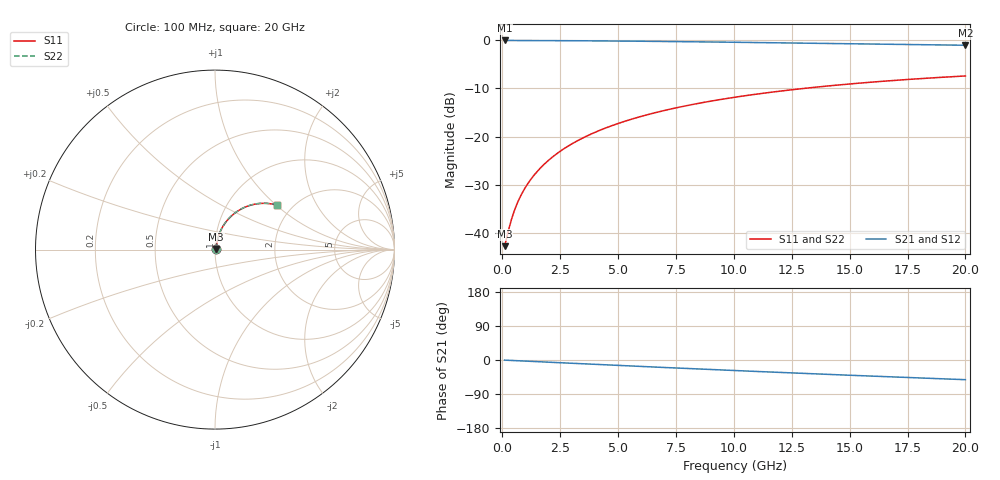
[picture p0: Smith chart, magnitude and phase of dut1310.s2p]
! Touchstone file exported from HFSS 2026.1.0
!  File:  C:/ffzhzh/LocalFiles/Ansys_Project_Files/temp_train_BSMRDL_1310_1783178338_22436.aedt
!  Generated:  11:20:07 PM Jul  4, 2026
!  Design:  BSMRDL
!  Project:  temp_train_BSMRDL_1310_1783178338_22436
! Variables:
!  h_bsmrdl = 3.64um
!  h_ox = 20um
!  h_rdl = 5um
!  h_sub = 80um
!  h_tmrdl = 5um
!  h_tsv = 80um
!  h_via = 3um
!  l_bsmrdl = 833.07um
!  l_sub = 1233.07um
!  l_tmrdl = 200um
!  m_sub = 200um
!  pitch = 28.47um
!  r_tsv = 6um
!  s_tmrdl = 10um
!  w_bsmrdl = 12.27um
!  w_sub = 500um
!  w_tmrdl = 12um
!  x_tsv_center1 = 206um
!  x_tsv_center2 = 1051.34um
!  x_tsv_center3 = 1263.34um
!  x_tsv_center4 = 2108.68um
!  x_tsv_center5 = 2320.68um
!  x_tsv_center6 = 3166.02um
# GHz S MA R 50.000000
! Terminal data exported
! Port[1] = BSM_RDL1_1_T1
! Port[2] = BSM_RDL1_1_T2
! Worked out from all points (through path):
!   200 points, 100 MHz to 20 GHz, reference 50 ohm
!   highest |S21| = -0.06 dB at 100 MHz (marker M1); lowest = -1.1 dB at 20 GHz (marker M2)
!   group delay of S21, straight-line fit = 7.21 ps
!   lowest |S11| = -42.8 dB at 100 MHz (marker M3), VSWR 1.01, Z = 50.7 + j0.307 ohm
!   |S11| at or under -10 dB: start of sweep to 13.05 GHz
!   |S22| runs from -42.8 to -7.4 dB; largest |S21 - S12| = 2.7e-15
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0.1  0.007274 24.6  0.9934 -0.3  0.9934 -0.3  0.007274 24.6
! Gamma 0 0 0 0
! Port Impedance 50 0 50 0
0.3  0.01137 51.8  0.9931 -0.9  0.9931 -0.9  0.01137 51.8
0.4  0.01387 58.1  0.9928 -1.2  0.9928 -1.2  0.01387 58.1
0.5  0.01645 62.4  0.9926 -1.5  0.9926 -1.5  0.01645 62.4
0.6  0.01907 65.4  0.9924 -1.8  0.9924 -1.8  0.01907 65.4
0.7  0.0217 67.6  0.9923 -2.1  0.9923 -2.1  0.0217 67.6
0.9  0.02701 70.6  0.9919 -2.6  0.9919 -2.6  0.02701 70.7
1.2  0.03505 73.3  0.9915 -3.5  0.9915 -3.5  0.03505 73.3
1.4  0.04044 74.3  0.9911 -4.1  0.9911 -4.1  0.04044 74.3
1.7  0.04857 75.2  0.9906 -4.9  0.9906 -4.9  0.04857 75.2
2.2  0.06214 75.7  0.9895 -6.4  0.9895 -6.4  0.06214 75.7
2.8  0.07839 75.3  0.988 -8.1  0.988 -8.1  0.07838 75.3
3.5  0.09717 74.3  0.9858 -10.0  0.9858 -10.0  0.09717 74.3
4.2  0.1157 72.9  0.9832 -12.0  0.9832 -12.0  0.1157 73.0
5  0.1365 71.2  0.9798 -14.3  0.9798 -14.3  0.1365 71.2
5.9  0.1593 69.0  0.9756 -16.7  0.9756 -16.7  0.1593 69.1
6.8  0.1815 66.8  0.9709 -19.2  0.9709 -19.2  0.1815 66.9
8.3  0.217 63.1  0.9623 -23.2  0.9623 -23.2  0.217 63.1
10.1  0.2569 58.6  0.9511 -28.0  0.9511 -28.0  0.2569 58.7
13.4  0.3227 50.6  0.9291 -36.3  0.9291 -36.3  0.3226 50.7
16.7  0.3787 42.9  0.9069 -44.3  0.9069 -44.3  0.3787 43.0
20  0.4252 35.5  0.8858 -51.9  0.8858 -51.9  0.4252 35.7
